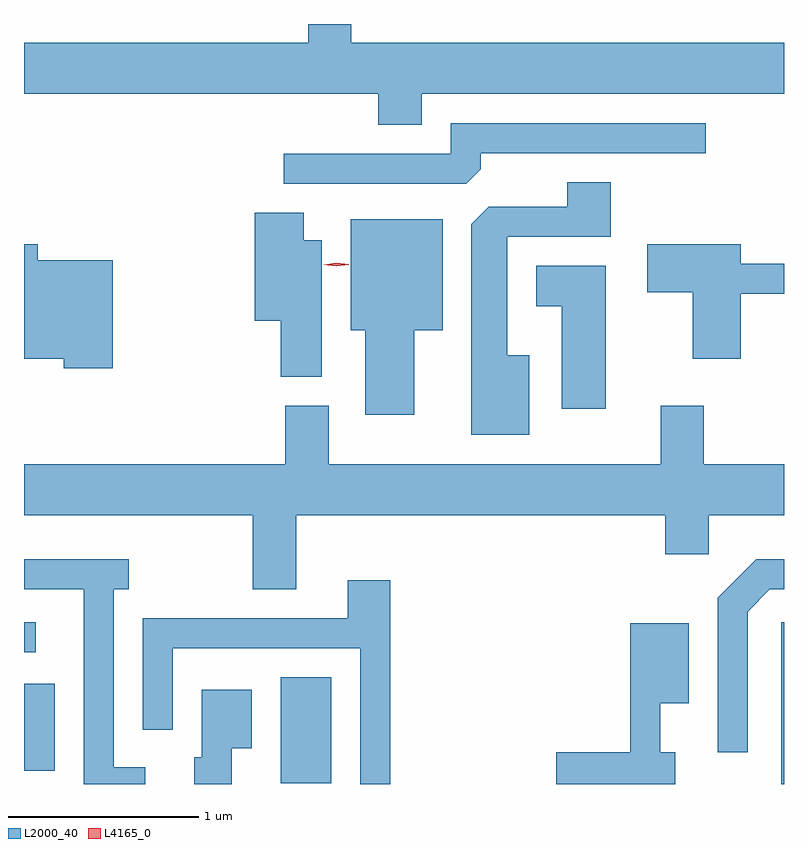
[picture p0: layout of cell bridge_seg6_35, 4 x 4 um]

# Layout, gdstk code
import gdstk
lib = gdstk.Library(unit=1e-6, precision=1e-09)
def R(c, l, rs):  # rectangles x0, y0, x1, y1
    for r in rs: c.add(gdstk.rectangle(r[:2], r[2:], *l))
def P(c, l, *ps):  # polygons
    for p in ps: c.add(gdstk.Polygon(p, *l))
L2000_40 = (2000, 40)
L4165_0 = (4165, 0)

bridge_seg6_35 = lib.new_cell('bridge_seg6_35')
R(bridge_seg6_35, L2000_40, [(1824.471,1632.982,1824.486,1633.834), (1821.836,1632.986,1822.104,1633.544), (1820.486,1633.051,1820.649,1633.509), (1820.486,1633.676,1820.548,1633.834)])
P(bridge_seg6_35, L2000_40, [(1822.579,1636.616),(1824.486,1636.616),(1824.486,1636.884),(1822.209,1636.884),(1822.209,1636.982),(1821.981,1636.982),(1821.981,1636.884),(1820.486,1636.884),(1820.486,1636.616),(1822.351,1636.616),(1822.351,1636.451),(1822.579,1636.451)],
  [(1822.889,1636.217),(1822.889,1636.301),(1824.073,1636.301),(1824.073,1636.459),(1822.731,1636.459),(1822.731,1636.299),(1821.853,1636.299),(1821.853,1636.141),(1822.814,1636.141)],
  [(1823.144,1635.239),(1823.029,1635.239),(1823.029,1635.861),(1823.574,1635.861),(1823.574,1636.149),(1823.346,1636.149),(1823.346,1636.019),(1822.932,1636.019),(1822.841,1635.929),(1822.841,1634.821),(1823.144,1634.821)],
  [(1822.054,1635.844),(1821.959,1635.844),(1821.959,1635.989),(1821.701,1635.989),(1821.701,1635.421),(1821.836,1635.421),(1821.836,1635.126),(1822.054,1635.126)],
  [(1822.539,1635.371),(1822.689,1635.371),(1822.689,1635.954),(1822.206,1635.954),(1822.206,1635.371),(1822.281,1635.371),(1822.281,1634.926),(1822.539,1634.926)],
  [(1820.954,1635.739),(1820.559,1635.739),(1820.559,1635.824),(1820.486,1635.824),(1820.486,1635.221),(1820.696,1635.221),(1820.696,1635.171),(1820.954,1635.171)],
  [(1824.259,1635.561),(1824.486,1635.561),(1824.486,1635.719),(1824.259,1635.719),(1824.259,1635.824),(1823.766,1635.824),(1823.766,1635.571),(1824.006,1635.571),(1824.006,1635.221),(1824.259,1635.221)],
  [(1823.549,1635.709),(1823.181,1635.709),(1823.181,1635.496),(1823.316,1635.496),(1823.316,1634.956),(1823.549,1634.956)],
  [(1821.919,1634.396),(1823.861,1634.396),(1823.861,1634.191),(1824.089,1634.191),(1824.089,1634.396),(1824.486,1634.396),(1824.486,1634.664),(1824.064,1634.664),(1824.064,1634.974),(1823.836,1634.974),(1823.836,1634.664),(1822.089,1634.664),(1822.089,1634.974),(1821.861,1634.974),(1821.861,1634.664),(1820.486,1634.664),(1820.486,1634.396),(1821.691,1634.396),(1821.691,1634.006),(1821.919,1634.006)],
  [(1821.123,1633.069),(1820.959,1633.069),(1820.959,1634.006),(1821.038,1634.006),(1821.038,1634.164),(1820.486,1634.164),(1820.486,1634.006),(1820.801,1634.006),(1820.801,1632.982),(1821.123,1632.982)],
  [(1824.294,1633.889),(1824.412,1634.006),(1824.486,1634.006),(1824.486,1634.164),(1824.339,1634.164),(1824.136,1633.962),(1824.136,1633.148),(1824.294,1633.148)],
  [(1822.414,1634.054),(1822.191,1634.054),(1822.191,1633.854),(1821.111,1633.854),(1821.111,1633.268),(1821.269,1633.268),(1821.269,1633.696),(1822.256,1633.696),(1822.256,1632.982),(1822.414,1632.982)],
  [(1823.914,1633.149),(1823.834,1633.149),(1823.834,1633.406),(1823.984,1633.406),(1823.984,1633.829),(1823.676,1633.829),(1823.676,1633.149),(1823.286,1633.149),(1823.286,1632.982),(1823.914,1632.982)],
  [(1821.579,1633.171),(1821.684,1633.171),(1821.684,1633.479),(1821.421,1633.479),(1821.421,1633.124),(1821.381,1633.124),(1821.381,1632.982),(1821.579,1632.982)])
P(bridge_seg6_35, L4165_0, [(1822.129,1635.706),(1822.063,1635.715),(1822.063,1635.715),(1822.063,1635.716),(1822.129,1635.726),(1822.195,1635.717),(1822.195,1635.716),(1822.195,1635.716)])

lib.write_gds('bridge_seg6_35.gds')
